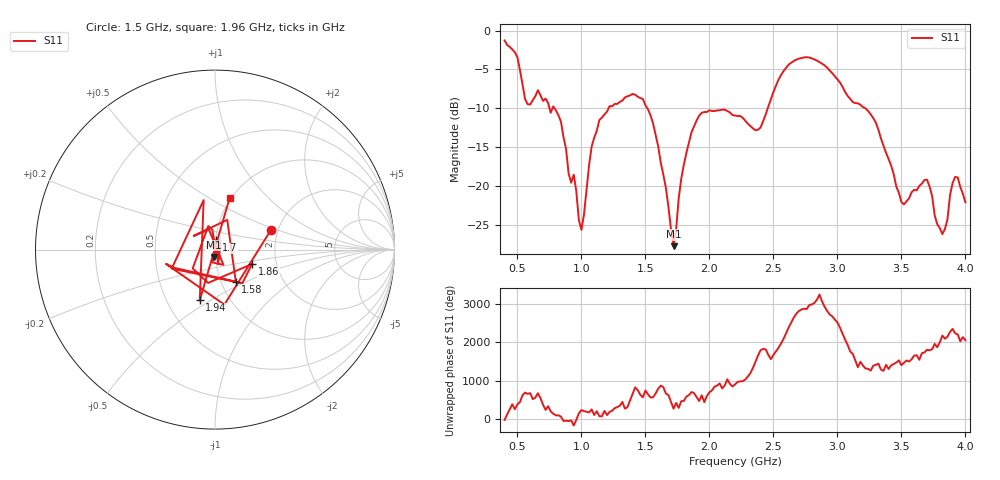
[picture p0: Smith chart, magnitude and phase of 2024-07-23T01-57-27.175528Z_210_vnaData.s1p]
!Created with skrf (http://scikit-rf.org).
# Hz S RI R 50.0
!freq ReS11 ImS11
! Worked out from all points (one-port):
!   181 points, 400 MHz to 4 GHz, reference 50 ohm
!   lowest |S11| = -27.8 dB at 1.72 GHz (marker M1), VSWR 1.09, Z = 49.3 - j3.99 ohm
!   |S11| at or under -10 dB: 789.4 MHz to 1.213 GHz (423.1 MHz wide, 42.3 % of centre); 1.515 GHz to 2.456 GHz (941.5 MHz wide, 47.4 % of centre); 3.217 GHz to end of sweep (the widest 3 of 4)
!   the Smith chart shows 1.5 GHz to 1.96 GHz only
!   S11 on the Smith chart (normalised r, x): 1.5 GHz: 1.83, +0.45; 1.58 GHz: 1.17, -0.44; 1.7 GHz: 1.01, +0.10; 1.86 GHz: 1.49, -0.25; 1.94 GHz: 0.73, -0.45; 1.96 GHz: 0.98, +0.62
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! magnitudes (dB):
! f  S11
! 400 MHz  -1.3
! 500 MHz  -3.4
! 580 MHz  -9.5
! 660 MHz  -7.7
! 860 MHz  -13.7
! 1 GHz  -25.7
! 1.08 GHz  -14.9
! 1.14 GHz  -11.5
! 1.3 GHz  -9.2
! 1.5 GHz  -9.6
! 1.58 GHz  -13.4
! 1.7 GHz  -25.6
! 1.72 GHz  -27.8
! 1.76 GHz  -21.6
! 1.86 GHz  -13.1
! 1.94 GHz  -10.6
! 1.96 GHz  -10.5
! 2.2 GHz  -11.0
! 2.4 GHz  -12.5
! 2.66 GHz  -3.9
! 3.1 GHz  -8.8
! 3.28 GHz  -11.3
! 3.5 GHz  -22.1
! 3.56 GHz  -21.6
! 3.7 GHz  -19.2
! 3.82 GHz  -26.2
! 3.92 GHz  -18.9
! 4 GHz  -22.1
